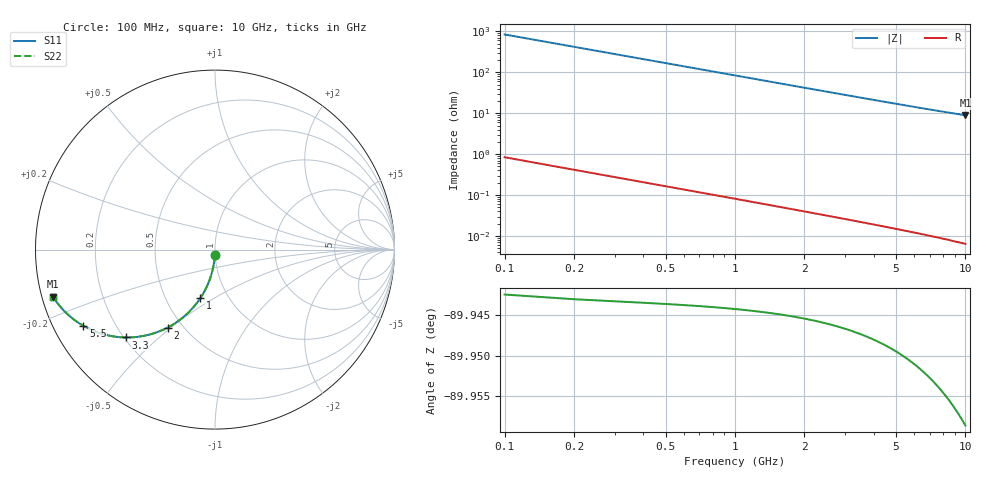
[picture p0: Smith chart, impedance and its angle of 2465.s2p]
# Hz S RI R 50.00
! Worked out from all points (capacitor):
!   100 points, 100 MHz to 10 GHz, reference 50 ohm
!   read as one part in shunt: C = 1.9 pF near 100 MHz
!   lowest |Z| = 8.92 ohm at 10 GHz (marker M1)
!   S11 on the Smith chart (normalised r, x): 100 MHz: 1.00, -0.06; 1 GHz: 0.74, -0.44; 2 GHz: 0.42, -0.49; 3.3 GHz: 0.21, -0.40; 5.5 GHz: 0.09, -0.27; 10 GHz: 0.03, -0.14
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1e8  -0.000838 -0.0296  0.999 -0.0302  0.999 -0.0302  -0.000838 -0.0296
2e8  -0.00354 -0.059  0.9963 -0.0602  0.9963 -0.0602  -0.00354 -0.059
3e8  -0.00798 -0.0881  0.9918 -0.0899  0.9918 -0.0899  -0.00798 -0.0881
4e8  -0.0141 -0.1167  0.9857 -0.1191  0.9857 -0.1191  -0.0141 -0.1167
5e8  -0.0219 -0.1447  0.9779 -0.1477  0.9779 -0.1477  -0.0219 -0.1447
6e8  -0.0313 -0.1719  0.9686 -0.1755  0.9686 -0.1755  -0.0313 -0.1719
7e8  -0.0421 -0.1983  0.9578 -0.2025  0.9578 -0.2025  -0.0421 -0.1983
8e8  -0.0542 -0.2238  0.9456 -0.2286  0.9456 -0.2286  -0.0542 -0.2238
1e9  -0.0822 -0.2713  0.9176 -0.2774  0.9176 -0.2774  -0.0822 -0.2713
1.2e9  -0.1143 -0.3141  0.8855 -0.3214  0.8855 -0.3214  -0.1143 -0.3141
1.4e9  -0.1493 -0.3518  0.8504 -0.3602  0.8504 -0.3602  -0.1493 -0.3518
1.8e9  -0.225 -0.4117  0.7748 -0.4226  0.7748 -0.4226  -0.225 -0.4117
2e9  -0.2639 -0.4343  0.7359 -0.4463  0.7359 -0.4463  -0.2639 -0.4343
2.6e9  -0.3775 -0.4764  0.6222 -0.4922  0.6222 -0.4922  -0.3775 -0.4764
3.3e9  -0.4946 -0.4894  0.5051 -0.5095  0.5051 -0.5095  -0.4946 -0.4894
3.4e9  -0.5096 -0.4891  0.49 -0.5097  0.49 -0.5097  -0.5096 -0.4891
4.2e9  -0.6139 -0.4735  0.3856 -0.4991  0.3856 -0.4991  -0.6139 -0.4735
5.1e9  -0.7018 -0.4412  0.2976 -0.4725  0.2976 -0.4725  -0.7018 -0.4412
5.5e9  -0.7328 -0.4249  0.2665 -0.4587  0.2665 -0.4587  -0.7328 -0.4249
6.7e9  -0.8038 -0.3754  0.1952 -0.417  0.1952 -0.417  -0.8038 -0.3754
8.4e9  -0.8668 -0.3119  0.1316 -0.3647  0.1316 -0.3647  -0.8668 -0.3119
1e10  -0.9032 -0.2617  0.0945 -0.3255  0.0945 -0.3255  -0.9032 -0.2617
